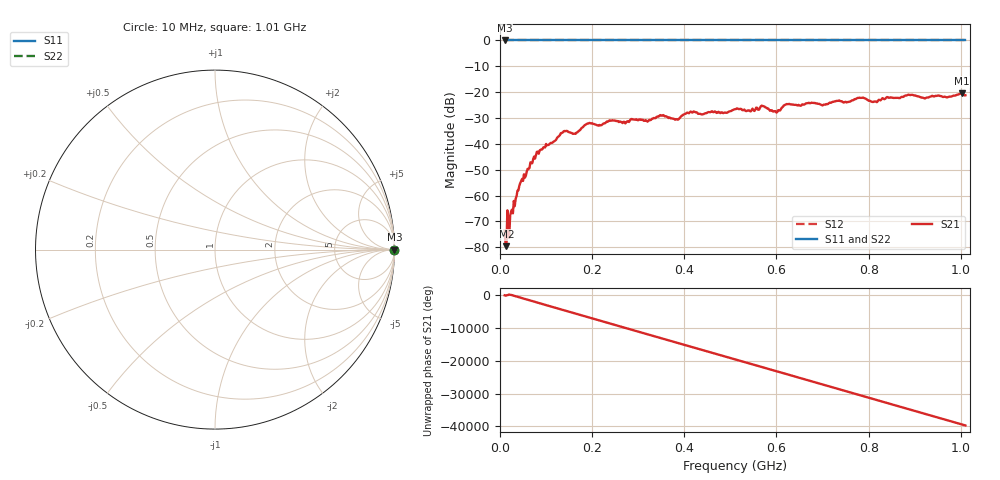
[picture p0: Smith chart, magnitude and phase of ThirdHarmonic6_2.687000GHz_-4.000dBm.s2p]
! 8/17/2025 6:20:58 AM
! C:\ANRITSUVNA\TEMP\TEMP.S2P
! CHANNEL.1
! TR.MEASUREMENT
! RAW.DATA
! RF.CORRECTION.OFF
! AVERAGING.OFF
! IF.BANDWIDTH: 5KHZ
! SWEEPTYPE:  FREQ.SWEEP(Linear)
! Reference Plane Port Info
! PORT:  PORT1  PORT2
! DISTANCE:  0  m  0  m
! TIME:  0  s  0  s
! PHASE.OFFSET:  0  deg.  0  deg.
! LOSS:  0  dB  0  dB
! REF.LOSS:  0  dB  0  dB
! REF.FREQ:  0  Hz  0  Hz
! Power Info
! POWER:  -20  dBm  -20  dBm
! EFF.POWER:  -20  dBm  -20  dBm
! SOURCE.ATTEN:  0  dB  0  dB
! TEST.ATTEN:  0  dB  0  dB
# GHZ S RI R 50.0
! FREQ.GHZ  S11RE  S11IM  S21RE  S21IM  S12RE  S12IM  S22RE  S22IM
!; PortSelection: Port_12
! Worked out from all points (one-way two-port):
!   501 points, 10 MHz to 1.01 GHz, reference 50 ohm
!   highest |S21| = -20.48 dB at 1.002 GHz (marker M1); lowest = -79.6 dB at 14 MHz (marker M2)
!   lowest |S11| = 0.0 dB at 10 MHz (marker M3)
!   |S11| at or under -10 dB: nowhere
!   |S22| runs from 0.0 to 0.0 dB; largest |S21 - S12| = 1.1
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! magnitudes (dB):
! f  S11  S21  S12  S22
! 10 MHz  0.0  -73.6  0.0  0.0
! 14 MHz  0.0  -79.6  0.0  0.0
! 16 MHz  0.0  -65.7  0.0  0.0
! 20 MHz  0.0  -76.4  0.0  0.0
! 42 MHz  0.0  -56.2  0.0  0.0
! 78 MHz  0.0  -44.4  0.0  0.0
! 136 MHz  0.0  -35.6  0.0  0.0
! 162 MHz  0.0  -36.1  0.0  0.0
! 178 MHz  0.0  -33.7  0.0  0.0
! 192 MHz  0.0  -32.1  0.0  0.0
! 322 MHz  0.0  -31.1  0.0  0.0
! 344 MHz  0.0  -29.5  0.0  0.0
! 384 MHz  0.0  -30.5  0.0  0.0
! 410 MHz  0.0  -28.2  0.0  0.0
! 510 MHz  0.0  -26.6  0.0  0.0
! 570 MHz  0.0  -25.3  0.0  0.0
! 598 MHz  0.0  -27.4  0.0  0.0
! 624 MHz  0.0  -24.6  0.0  0.0
! 678 MHz  0.0  -24.1  0.0  0.0
! 844 MHz  0.0  -22.2  0.0  0.0
! 1.002 GHz  0.0  -20.5  0.0  0.0
! 1.01 GHz  0.0  -21.2  0.0  0.0
